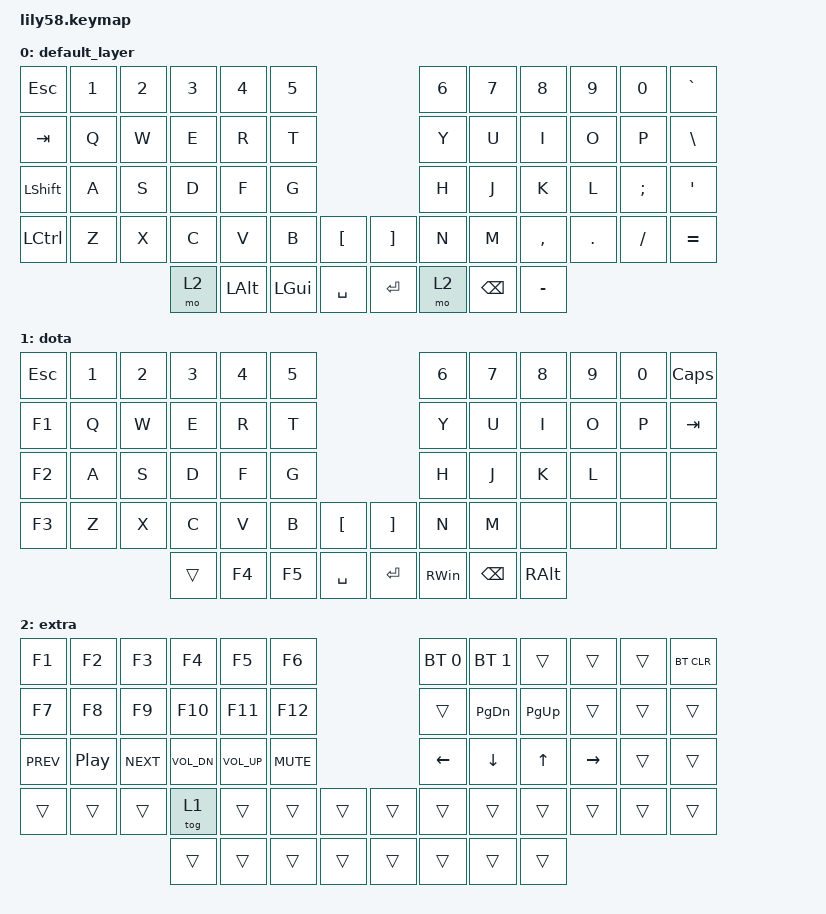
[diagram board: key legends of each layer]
/*
 * Copyright (c) 2020 The ZMK Contributors
 *
 * SPDX-License-Identifier: MIT
 */

#include <behaviors.dtsi>
#include <dt-bindings/zmk/bt.h>
#include <dt-bindings/zmk/keys.h>

/ {
    keymap {
        compatible = "zmk,keymap";

        default_layer {
            // ------------------------------------------------------------------------------------------------------------
            // |  ESC  |  1  |  2  |  3   |  4   |  5   |                   |  6   |  7    |  8    |  9   |   0   |   `   |
            // |  TAB  |  Q  |  W  |  E   |  R   |  T   |                   |  Y   |  U    |  I    |  O   |   P   |   -   |
            // |  CTRL |  A  |  S  |  D   |  F   |  G   |                   |  H   |  J    |  K    |  L   |   ;   |   '   |
            // | SHIFT |  Z  |  X  |  C   |  V   |  B   |   "["  |  |  "]"  |  N   |  M    |  ,    |  .   |   /   | SHIFT |
            //                     | ALT  | GUI  | LOWER|  SPACE |  | ENTER | RAISE| BSPC  | GUI   |

            bindings = <
&kp ESC    &kp N1  &kp N2  &kp N3  &kp N4    &kp N5                           &kp N6  &kp N7         &kp N8     &kp N9   &kp N0    &kp GRAVE
&kp TAB    &kp Q   &kp W   &kp E   &kp R     &kp T                            &kp Y   &kp U          &kp I      &kp O    &kp P     &kp BSLH
&kp LSHFT  &kp A   &kp S   &kp D   &kp F     &kp G                            &kp H   &kp J          &kp K      &kp L    &kp SEMI  &kp SQT
&kp LCTRL  &kp Z   &kp X   &kp C   &kp V     &kp B     &kp LBKT     &kp RBKT  &kp N   &kp M          &kp COMMA  &kp DOT  &kp FSLH  &kp EQUAL
                           &mo 2   &kp LALT  &kp LGUI  &kp SPACE    &kp RET   &mo 2   &kp BACKSPACE  &kp MINUS
            >;
        };

        dota {
            bindings = <
&kp ESC  &kp N1  &kp N2  &kp N3  &kp N4  &kp N5                         &kp N6         &kp N7         &kp N8         &kp N9  &kp N0  &kp CAPSLOCK
&kp F1   &kp Q   &kp W   &kp E   &kp R   &kp T                          &kp Y          &kp U          &kp I          &kp O   &kp P   &kp TAB
&kp F2   &kp A   &kp S   &kp D   &kp F   &kp G                          &kp H          &kp J          &kp K          &kp L   &none   &none
&kp F3   &kp Z   &kp X   &kp C   &kp V   &kp B   &kp LBKT     &kp RBKT  &kp N          &kp M          &none          &none   &none   &none
                         &trans  &kp F4  &kp F5  &kp SPACE    &kp RET   &kp RIGHT_WIN  &kp BACKSPACE  &kp RIGHT_ALT
            >;
        };

        extra {
            // ------------------------------------------------------------------------------------------------------------
            // | BTCLR | BT1 | BT2 |  BT3 |  BT4 |  BT5 |                   |      |       |       |      |       |       |
            // |  F1   |  F2 |  F3 |  F4  |  F5  |  F6  |                   |  F7  |  F8   |  F9   |  F10 |  F11  |  F12  |
            // |   `   |  !  |  @  |  #   |  $   |  %   |                   |  ^   |  &    |  *    |  (   |   )   |   ~   |
            // |       |     |     |      |      |      |        |  |       |      |  _    |  +    |  {   |   }   |  "|"  |
            //                     |      |      |      |        |  |       |      |       |       |

            bindings = <
&kp F1      &kp F2    &kp F3      &kp F4        &kp F5        &kp F6                        &bt BT_SEL 0  &bt BT_SEL 1   &trans       &trans     &trans  &bt BT_CLR
&kp F7      &kp F8    &kp F9      &kp F10       &kp F11       &kp F12                       &trans        &kp PAGE_DOWN  &kp PAGE_UP  &trans     &trans  &trans
&kp C_PREV  &kp C_PP  &kp C_NEXT  &kp C_VOL_DN  &kp C_VOL_UP  &kp C_MUTE                    &kp LEFT      &kp DOWN       &kp UP       &kp RIGHT  &trans  &trans
&trans      &trans    &trans      &tog 1        &trans        &trans      &trans    &trans  &trans        &trans         &trans       &trans     &trans  &trans
                                  &trans        &trans        &trans      &trans    &trans  &trans        &trans         &trans
            >;
        };
    };
};
